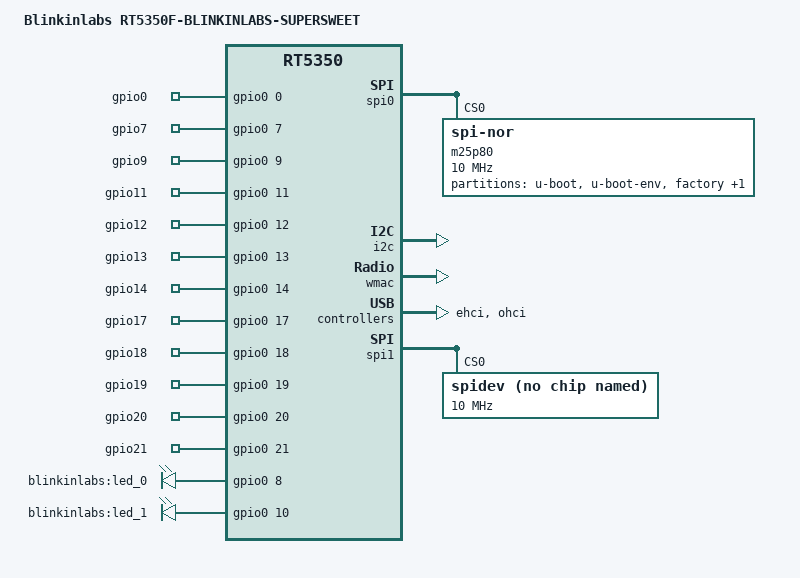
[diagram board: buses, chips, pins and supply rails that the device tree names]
/dts-v1/;

#include "rt5350.dtsi"

/ {
	compatible = "RT5350F-BLINKINLABS-SUPERSWEET", "ralink,rt5350-soc";
	model = "Blinkinlabs RT5350F-BLINKINLABS-SUPERSWEET";

	gpio_export {
		compatible = "gpio-export";
		#size-cells = <0>;

		gpio0 {
			gpio-export,name = "gpio0";
			gpio-export,direction_may_change = <1>;
			gpios = <&gpio0 0 0>;
		};

		/* UARTF */
		gpio7 {
			/* UARTF_RTS_N */
			gpio-export,name = "gpio7";
			gpio-export,direction_may_change = <1>;
			gpios = <&gpio0 7 0>;
		};

		gpio9 {
			/* UARTF_CTS_N */
			gpio-export,name = "gpio9";
			gpio-export,direction_may_change = <1>;
			gpios = <&gpio0 9 0>;
		};

		gpio11 {
			/* UARTF_DTR_N */
			gpio-export,name = "gpio11";
			gpio-export,direction_may_change = <1>;
			gpios = <&gpio0 11 0>;
		};

		gpio12 {
			/* UARTF_DCD_N */
			gpio-export,name = "gpio12";
			gpio-export,direction_may_change = <1>;
			gpios = <&gpio0 12 0>;
		};

		gpio13 {
			/* UARTF_DSR_N */
			gpio-export,name = "gpio13";
			gpio-export,direction_may_change = <1>;
			gpios = <&gpio0 13 0>;
		};

		gpio14 {
			/* UARTF_RIN */
			gpio-export,name = "gpio14";
			gpio-export,direction_may_change = <1>;
			gpios = <&gpio0 14 0>;
		};

		/* JTAG */
		gpio17 {
			/* JTAG_TDO */
			gpio-export,name = "gpio17";
			gpio-export,direction_may_change = <1>;
			gpios = <&gpio0 17 0>;
		};

		gpio18 {
			/* JTAG_TDI */
			gpio-export,name = "gpio18";
			gpio-export,direction_may_change = <1>;
			gpios = <&gpio0 18 0>;
		};

		gpio19 {
			/* JTAG_TMS */
			gpio-export,name = "gpio19";
			gpio-export,direction_may_change = <1>;
			gpios = <&gpio0 19 0>;
		};

		gpio20 {
			/* JTAG_TCLK */
			gpio-export,name = "gpio20";
			gpio-export,direction_may_change = <1>;
			gpios = <&gpio0 20 0>;
		};

		gpio21 {
			/* JTAG_TRST_N */
			gpio-export,name = "gpio21";
			gpio-export,direction_may_change = <1>;
			gpios = <&gpio0 21 0>;
		};

	};


	gpio-leds {
		compatible = "gpio-leds";

		led_0 {
			/* UARTF_TXD */
			label = "blinkinlabs:led_0";
			gpios = <&gpio0 8 0>;
		};

		led_1 {
			/* UARTF_RXD */
			label = "blinkinlabs:led_1";
			gpios = <&gpio0 10 0>;
		};
	};
};

&spi0 {
	status = "okay";

	m25p80@0 {
		#address-cells = <1>;
		#size-cells = <1>;
		compatible = "jedec,spi-nor";
		reg = <0>;
		linux,modalias = "m25p80", "s25fl064k";
		spi-max-frequency = <10000000>;

		partition@0 {
			label = "u-boot";
			reg = <0x0 0x30000>;
			read-only;
		};

		partition@30000 {
			label = "u-boot-env";
			reg = <0x30000 0x10000>;
			read-only;
		};

		factory: partition@40000 {
			label = "factory";
			reg = <0x40000 0x10000>;
			read-only;
		};

		partition@50000 {
			label = "firmware";
			reg = <0x50000 0x7b0000>;
		};
	};
};

&gpio1 {
	status = "okay";
};

&i2c {
	status = "okay";
};

&pinctrl {
	state_default: pinctrl0 {
		gpio {
			ralink,group = "jtag", "uartf";
			ralink,function = "gpio";
		};
	};
};

&ethernet {
	mtd-mac-address = <&factory 0x4>;
};

&esw {
	/* mediatek,portmap = <0x2f>; */
	mediatek,led_polarity = <0x17>;
	mediatek,portmap = <0x11>;
	mediatek,portdisable = <0x2e>;
};

&wmac {
	ralink,mtd-eeprom = <&factory 0>;
};

&ehci {
	status = "okay";
};

&ohci {
	status = "okay";
};


&spi1 {
	status = "okay";

	spidev@0 {
		compatible = "linux,spidev";
		spi-max-frequency = <10000000>;
		reg = <0>;
	};
};
